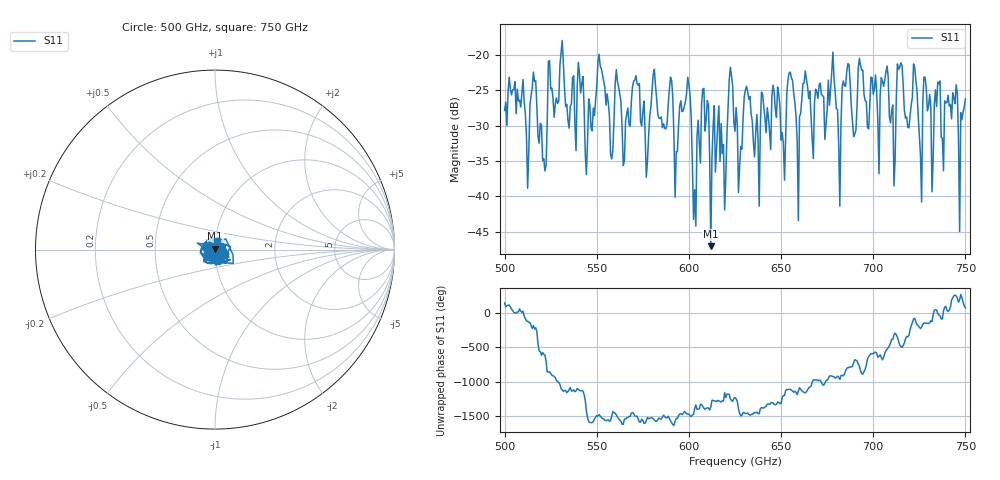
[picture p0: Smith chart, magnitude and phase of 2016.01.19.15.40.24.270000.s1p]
!Created with skrf (http://scikit-rf.org).
# GHz S RI R 50.0
!freq ReS11 ImS11
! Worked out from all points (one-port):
!   401 points, 500 GHz to 750 GHz, reference 50 ohm
!   lowest |S11| = -47.1 dB at 611.9 GHz (marker M1), VSWR 1.01, Z = 50.1 + j0.436 ohm
!   |S11| at or under -10 dB: start of sweep to end of sweep
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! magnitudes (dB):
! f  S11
! 500 GHz  -27.8
! 515.6 GHz  -22.4
! 521.9 GHz  -36.4
! 531.2 GHz  -17.9
! 544.4 GHz  -36.9
! 551.9 GHz  -21.5
! 558.1 GHz  -34.7
! 562.5 GHz  -25.5
! 577.5 GHz  -35.1
! 590 GHz  -23.1
! 593.8 GHz  -33.7
! 599.4 GHz  -23.1
! 603.1 GHz  -39.1
! 608.1 GHz  -24.7
! 611.9 GHz  -47.1
! 625 GHz  -30.8
! 651.2 GHz  -32.6
! 656.2 GHz  -23.6
! 659.4 GHz  -43.4
! 663.1 GHz  -22.2
! 678.1 GHz  -19.6
! 681.2 GHz  -32.6
! 687.5 GHz  -24.1
! 706.9 GHz  -22.4
! 710.6 GHz  -27.1
! 714.4 GHz  -21.7
! 718.8 GHz  -30.2
! 750 GHz  -26.2
